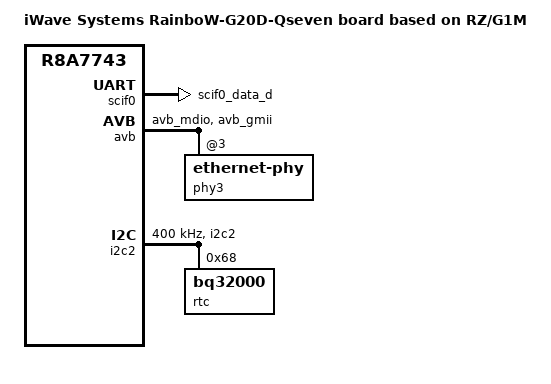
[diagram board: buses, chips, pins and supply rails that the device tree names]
/*
 * Device Tree Source for the iWave-RZG1M Qseven carrier board
 *
 * Copyright (C) 2017 Renesas Electronics Corp.
 *
 * This file is licensed under the terms of the GNU General Public License
 * version 2.  This program is licensed "as is" without any warranty of any
 * kind, whether express or implied.
 */

/dts-v1/;
#include "r8a7743-iwg20m.dtsi"

/ {
	model = "iWave Systems RainboW-G20D-Qseven board based on RZ/G1M";
	compatible = "iwave,g20d", "iwave,g20m", "renesas,r8a7743";

	aliases {
		serial0 = &scif0;
		ethernet0 = &avb;
	};
};

&pfc {
	scif0_pins: scif0 {
		groups = "scif0_data_d";
		function = "scif0";
	};

	avb_pins: avb {
		groups = "avb_mdio", "avb_gmii";
		function = "avb";
	};

	i2c2_pins: i2c2 {
		groups = "i2c2";
		function = "i2c2";
	};
};

&scif0 {
	pinctrl-0 = <&scif0_pins>;
	pinctrl-names = "default";

	status = "okay";
};

&avb {
	pinctrl-0 = <&avb_pins>;
	pinctrl-names = "default";

	phy-handle = <&phy3>;
	phy-mode = "gmii";
	renesas,no-ether-link;
	status = "okay";

	phy3: ethernet-phy@3 {
		reg = <3>;
		micrel,led-mode = <1>;
	};
};

&i2c2 {
	pinctrl-0 = <&i2c2_pins>;
	pinctrl-names = "default";

	status = "okay";
	clock-frequency = <400000>;

	rtc@68 {
		compatible = "bq32000";
		reg = <0x68>;
	};
};
